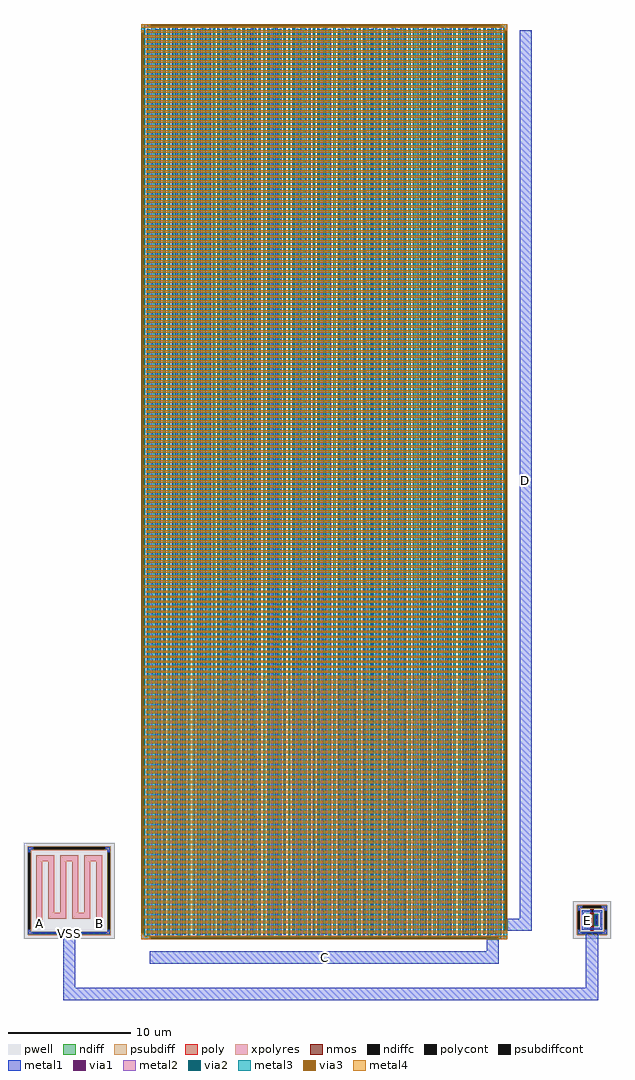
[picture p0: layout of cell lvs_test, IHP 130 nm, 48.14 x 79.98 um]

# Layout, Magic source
magic
tech ihp-sg13cmos5l
magscale 1 2
<< metal1 >>
rect 8125 335 8325 14895
rect 204 204 304 290
rect 1184 204 1284 290
rect 7925 135 8325 335
rect 9230 224 9262 396
rect 9366 224 9398 396
rect 9298 150 9330 182
rect 154 76 1334 108
rect 9154 76 9474 108
rect 644 -800 844 76
rect 7585 -204 7785 -4
rect 2065 -404 7785 -204
rect 9214 -800 9414 76
rect 644 -1000 9414 -800
use cap_cmomf_Y6PZHA  cap_cmomf_Y6PZHA_0
transform 1 0 1925 0 1 -5
box 0 0 6000 15000
use rhigh_3NQFRR_fixed  rhigh_3NQFRR_fixed_0
transform 1 0 -6987 0 1 -4153
box 6987 4153 8475 5731
use sg13_lv_nmos_SWUS4L  sg13_lv_nmos_SWUS4L_0
transform 1 0 9314 0 1 310
box -314 -310 314 310
<< labels >>
flabel metal1 154 76 1334 108 0 FreeSans 1600 0 0 0 VSS
port 0 nsew
flabel metal1 204 204 304 290 0 FreeSans 1600 0 0 0 A
port 1 nsew
flabel metal1 1184 204 1284 290 0 FreeSans 1600 0 0 0 B
port 2 nsew
flabel metal1 2065 -404 7785 -204 0 FreeSans 1600 0 0 0 C
port 3 nsew
flabel metal1 8125 135 8325 14895 0 FreeSans 1600 0 0 0 D
port 4 nsew
flabel metal1 9230 224 9262 396 0 FreeSans 1600 0 0 0 E
port 5 nsew
flabel metal1 9366 224 9398 396 0 FreeSans 1600 0 0 0 F
port 6 nsew
flabel metal1 9298 150 9330 182 0 FreeSans 1600 0 0 0 G
port 7 nsew
<< end >>

# cell cap_cmomf_Y6PZHA: kit device cap_cmomf, w 30 l 75 value 2895.750 class capacitor mmin metal1 mmax metal4 square 1 subblock 0 lmin 2.00 wmin 2.00 lmax 100.0 wmax 100.0

# cell rhigh_3NQFRR_fixed: kit device rhigh, w 0.5 l 5.22 m 1 nx 6 wmin 0.50 lmin 0.50 class resistor rho 1360 val 91.99k dummy 0 dw 0.0 term 0.0 sterm 0.0 caplen 0 bar 1 guard 1 glc 1 grc 1 gtc 1 gbc 1 snake 1 full_metal 1 n_guard 0 hv_guard 0 vias 0 viagb 0 viagt 0 viagl 0 viagr 0 doports 1

# cell sg13_lv_nmos_SWUS4L: kit device sg13_lv_nmos, w 1.0 l 0.3 m 1 ng 1 diffcov 100 polycov 100 guard 1 glc 1 grc 1 gtc 1 gbc 1 tbcov 100 rlcov 100 topc 1 botc 1 poverlap 0 doverlap 1 lmin 0.13 wmin 0.15 class mosfet compatible {sg13_lv_nmos sg13_hv_nmos} full_metal 1 conn_gates 1 gate_ring 1 doports 1 viasrc 0 viadrn 0 viagate 0 ccols 1 viagb 0 viagr 0 viagl 0 viagt 0
